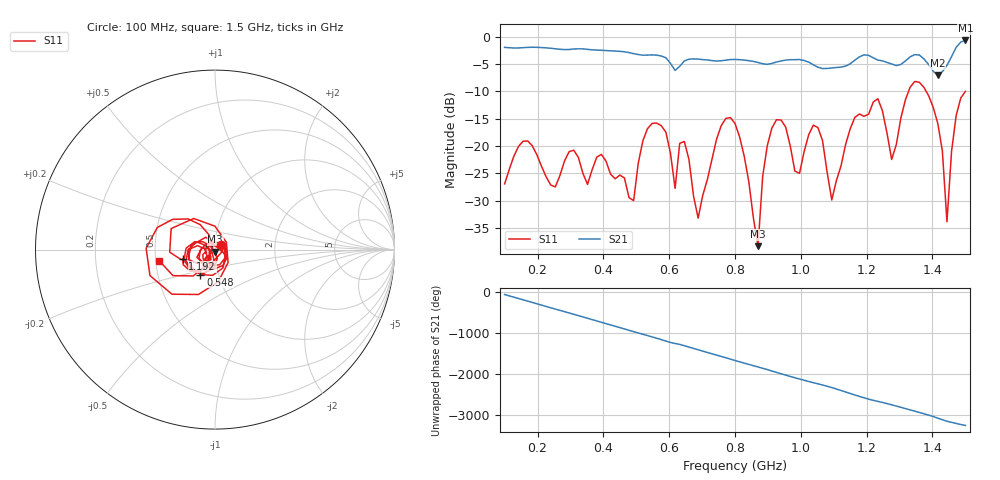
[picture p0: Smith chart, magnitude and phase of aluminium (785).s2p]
! NanoVNA-App
! Date: 2025-09-25 15:01:23
! Start: 100MHz Stop: 1,5GHz Points: 101
! S-Parameter data: F S11 S21 S12 S22
# Hz S RI R 50
!  Frequency  S11_Real  S11_Imag  S21_Real  S21_Imag  S12_Real  S12_Imag  S22_Real  S22_Imag
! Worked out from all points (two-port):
!   101 points, 100 MHz to 1.5 GHz, reference 50 ohm
!   highest |S21| = -0.65 dB at 1.5 GHz (marker M1); lowest = -7.0 dB at 1.416 GHz (marker M2)
!   |S21| within 3 dB of the highest: start of sweep to 582.6 MHz; 1.458 GHz to end of sweep (the widest 2 of 4)
!   lowest |S11| = -38.4 dB at 870 MHz (marker M3), VSWR 1.02, Z = 50.1 - j1.2 ohm
!   |S11| at or under -10 dB: start of sweep to 1.327 GHz; 1.381 GHz to 1.5 GHz (119 MHz wide, 8.26 % of centre)
!   S12 and S22 are empty: the file has one direction only
!   S11 on the Smith chart (normalised r, x): 100 MHz: 1.07, +0.06; 548 MHz: 0.82, -0.23; 1.192 GHz: 0.69, -0.08; 1.5 GHz: 0.52, -0.07
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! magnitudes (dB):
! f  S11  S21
! 100 MHz  -27.0  -1.9
! 156 MHz  -19.1  -2.0
! 338 MHz  -25.0  -2.2
! 492 MHz  -30.0  -3.1
! 548 MHz  -15.9  -3.3
! 576 MHz  -16.3  -3.5
! 618 MHz  -27.8  -6.1
! 646 MHz  -19.2  -4.4
! 688 MHz  -33.2  -4.1
! 800 MHz  -15.9  -4.1
! 870 MHz  -38.4  -4.7
! 912 MHz  -16.7  -4.9
! 996 MHz  -25.0  -4.2
! 1.038 GHz  -16.2  -5.1
! 1.094 GHz  -29.9  -5.7
! 1.192 GHz  -14.6  -3.3
! 1.276 GHz  -22.5  -5.0
! 1.346 GHz  -8.2  -3.2
! 1.416 GHz  -15.8  -7.0
! 1.444 GHz  -33.9  -5.2
! 1.472 GHz  -14.4  -1.9
! 1.5 GHz  -10.0  -0.7
